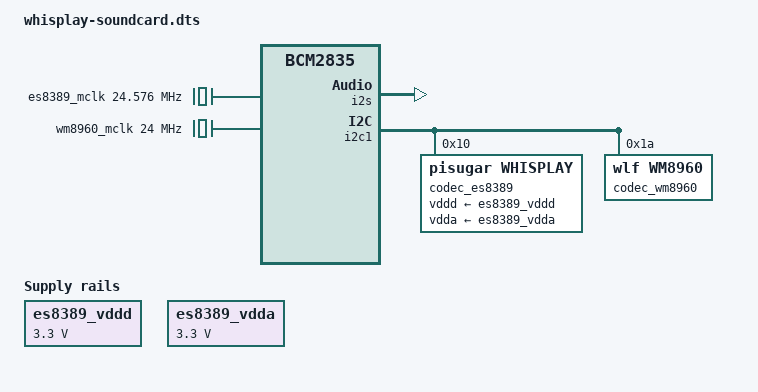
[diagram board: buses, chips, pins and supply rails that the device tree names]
/*
 * Device Tree overlay for Whisplay unified sound card.
 *
 * One machine driver (pisugar,whisplay-soundcard) auto-detects
 * ES8389 (0x10) or WM8960 (0x1a) at probe time.
 *
 * MCLK: ES8389 24.576MHz, WM8960 24.000MHz
 *
 * Uses &i2s which resolves to:
 *   Pi 3/4: bcm2835_i2s
 *   Pi 5:   rp1_i2s0 (via firmware alias)
 */

/dts-v1/;
/plugin/;

/ {
	compatible = "brcm,bcm2835";

	fragment@0 {
		target = <&i2s>;
		__overlay__ {
			status = "okay";
		};
	};

	fragment@1 {
		target-path = "/";
		__overlay__ {
			es8389_mclk: es8389-mclk {
				compatible = "fixed-clock";
				#clock-cells = <0>;
				clock-frequency = <24576000>;
				clock-output-names = "es8389-mclk";
			};

			wm8960_mclk: wm8960-mclk {
				compatible = "fixed-clock";
				#clock-cells = <0>;
				clock-frequency = <24000000>;
				clock-output-names = "wm8960-mclk";
			};

			es8389_vddd: es8389-vddd {
				compatible = "regulator-fixed";
				regulator-name = "es8389-vddd";
				regulator-min-microvolt = <3300000>;
				regulator-max-microvolt = <3300000>;
				regulator-boot-on;
				regulator-always-on;
			};

			es8389_vdda: es8389-vdda {
				compatible = "regulator-fixed";
				regulator-name = "es8389-vdda";
				regulator-min-microvolt = <3300000>;
				regulator-max-microvolt = <3300000>;
				regulator-boot-on;
				regulator-always-on;
			};
		};
	};

	fragment@2 {
		target = <&i2c1>;
		__overlay__ {
			#address-cells = <1>;
			#size-cells = <0>;
			status = "okay";

			codec_es8389: whisplay@10 {
				compatible = "pisugar,whisplay";
				reg = <0x10>;
				#sound-dai-cells = <0>;
				clocks = <&es8389_mclk>;
				clock-names = "mclk";
				vddd-supply = <&es8389_vddd>;
				vdda-supply = <&es8389_vdda>;
				everest,mclk-src = /bits/ 8 <0x40>;
			};

			codec_wm8960: wm8960@1a {
				compatible = "wlf,wm8960";
				reg = <0x1a>;
				#sound-dai-cells = <0>;
				clocks = <&wm8960_mclk>;
				clock-names = "mclk";
				wlf,shared-lrclk;
			};
		};
	};

	/* Single machine driver - auto-detects ES8389 or WM8960 */
	fragment@3 {
		target-path = "/";
		__overlay__ {
			sound {
				compatible = "pisugar,whisplay-soundcard";
				i2s-controller = <&i2s>;
				whisplay,es8389-codec = <&codec_es8389>;
				whisplay,wm8960-codec = <&codec_wm8960>;
				status = "okay";
			};
		};
	};
};
